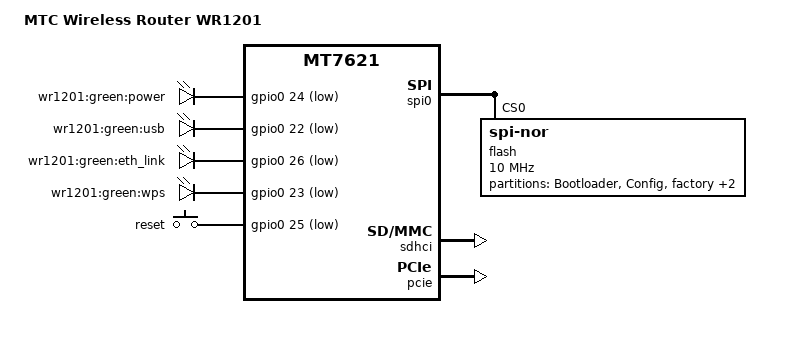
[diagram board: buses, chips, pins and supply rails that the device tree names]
/dts-v1/;

#include "mt7621.dtsi"

#include <dt-bindings/gpio/gpio.h>
#include <dt-bindings/input/input.h>

/ {
	compatible = "mtc,wr1201", "mediatek,mt7621-soc";
	model = "MTC Wireless Router WR1201";

	aliases {
		led-boot = &led_power;
		led-failsafe = &led_power;
		led-running = &led_power;
		led-upgrade = &led_power;
		label-mac-device = &ethernet;
	};

	chosen {
		bootargs = "console=ttyS0,57600";
	};

	leds {
		compatible = "gpio-leds";

		led_power: power {
			label = "wr1201:green:power";
			gpios = <&gpio0 24 GPIO_ACTIVE_LOW>;
		};

		usb {
			label = "wr1201:green:usb";
			gpios = <&gpio0 22 GPIO_ACTIVE_LOW>;
			trigger-sources = <&xhci_ehci_port1>, <&ehci_port2>;
			linux,default-trigger = "usbport";
		};

		eth_link {
			label = "wr1201:green:eth_link";
			gpios = <&gpio0 26 GPIO_ACTIVE_LOW>;
		};

		wps {
			label = "wr1201:green:wps";
			gpios = <&gpio0 23 GPIO_ACTIVE_LOW>;
		};
	};

	keys {
		compatible = "gpio-keys";

		reset {
			label = "reset";
			gpios = <&gpio0 25 GPIO_ACTIVE_LOW>;
			linux,code = <KEY_RESTART>;
		};
	};
};

&spi0 {
	status = "okay";

	flash@0 {
		compatible = "jedec,spi-nor";
		reg = <0>;
		spi-max-frequency = <10000000>;

		partitions {
			compatible = "fixed-partitions";
			#address-cells = <1>;
			#size-cells = <1>;

			partition@0 {
				label = "Bootloader";
				reg = <0x0 0x30000>;
				read-only;
			};

			partition@30000 {
				label = "Config";
				reg = <0x30000 0x10000>;
				read-only;
			};

			factory: partition@40000 {
				label = "factory";
				reg = <0x40000 0x10000>;
				read-only;
			};

			partition@50000 {
				compatible = "denx,uimage";
				label = "firmware";
				reg = <0x50000 0xfa0000>;
			};

			partition@ff0000 {
				label = "Second_Config";
				reg = <0xff0000 0x10000>;
				read-only;
			};
		};
	};
};

&ethernet {
	mtd-mac-address = <&factory 0x4>;
};

&sdhci {
	status = "okay";
};

&pcie {
	status = "okay";
};

&pcie0 {
	wifi@0,0 {
		reg = <0x0000 0 0 0 0>;
		mediatek,mtd-eeprom = <&factory 0x8000>;
		ieee80211-freq-limit = <5000000 6000000>;

		led {
			led-sources = <2>;
			led-active-low;
		};
	};
};

&pcie1 {
	wifi@0,0 {
		reg = <0x0000 0 0 0 0>;
		mediatek,mtd-eeprom = <&factory 0x0000>;
		ieee80211-freq-limit = <2400000 2500000>;

		led {
			led-sources = <2>;
			led-active-low;
		};
	};
};

&pinctrl {
	state_default: pinctrl0 {
		gpio {
			ralink,group = "rgmii2";
			ralink,function = "gpio";
		};
	};
};
